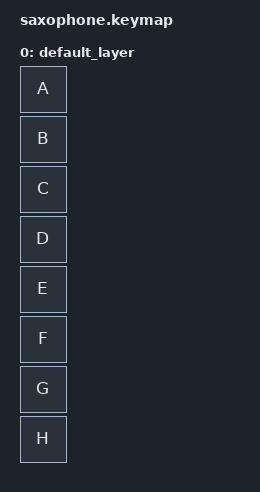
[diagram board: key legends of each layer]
/*
 * Copyright (c) 2022 The ZMK Contributors
 *
 * SPDX-License-Identifier: MIT
 */

#include <behaviors.dtsi>
#include <dt-bindings/zmk/keys.h>
#include <dt-bindings/zmk/bt.h>

/ {
    keymap {
        compatible = "zmk,keymap";

        default_layer {
            bindings = <
                &kp A
                &kp B
                &kp C
                &kp D
                &kp E
                &kp F
                &kp G
                &kp H
            >;
        };
    };
};
